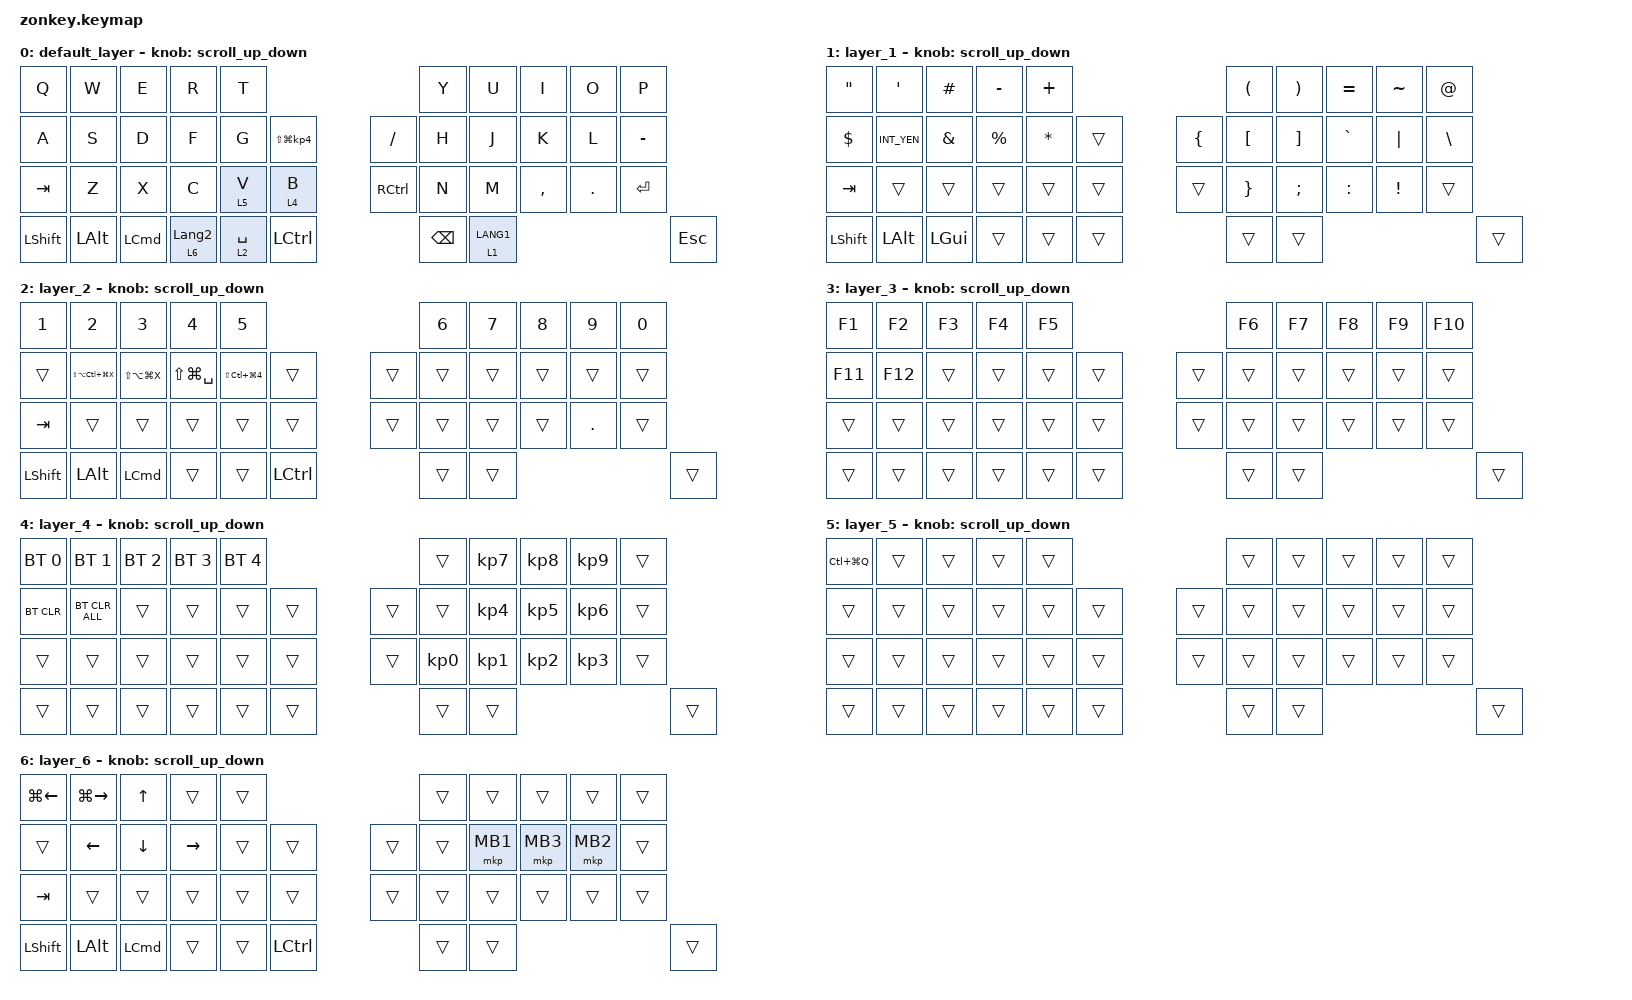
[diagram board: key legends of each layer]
#include <behaviors.dtsi>
#include <dt-bindings/zmk/bt.h>
#include <dt-bindings/zmk/keys.h>
#include <dt-bindings/zmk/pointing.h>

#define ZMK_POINTING_DEFAULT_SCRL_VAL 100
#define MOUSE 6
#define JP_DQUOTE       AT                // "
#define JP_AMPERSAND    CARET             // &
#define JP_QUOTE        AMPERSAND         // '
#define JP_EQUAL        UNDER             // =
#define JP_CARET        EQUAL             // ^
#define JP_YEN          0x89              // ¥
#define JP_PLUS         COLON             // +
#define JP_TILDE        PLUS              // ~
#define JP_PIPE         LS(0x89)          // |
#define JP_AT           LEFT_BRACKET      // @
#define JP_COLON        SINGLE_QUOTE      // :
#define JP_ASTERISK     DOUBLE_QUOTES     // *
#define JP_BACKQUOTE    LEFT_BRACE        // `
#define JP_UNDERSCORE   LS(0x87)          // _
#define JP_LBRACKET     RIGHT_BRACKET     // [
#define JP_RBRACKET     BACKSLASH         // ]
#define JP_LPAREN       ASTERISK          // (
#define JP_RPAREN       LEFT_PARENTHESIS  // )
#define JP_LBRACE       RIGHT_BRACE       // {
#define JP_RBRACE       PIPE              // }
#define JP_KANA         LANGUAGE_1        // かな
#define JP_EISU         LANGUAGE_2        // 英数
#define JP_HANZEN       GRAVE             // 半角/全角
#define JP_BSLH  INT1         // (backslash)

&mt {
    flavor = "balanced";
    quick-tap-ms = <0>;
};

/ {
    combos { compatible = "zmk,combos"; };

    macros {
        to_layer_0: to_layer_0 {
            compatible = "zmk,behavior-macro-one-param";
            #binding-cells = <1>;
            bindings = <&to 0 &macro_param_1to1 &kp MACRO_PLACEHOLDER>;
            label = "TO_LAYER_0";
        };
    };

    behaviors {
        lt_to_layer_0: lt_to_layer_0 {
            compatible = "zmk,behavior-hold-tap";
            label = "LAYER_TAP_TO_0";
            bindings = <&mo>, <&to_layer_0>;

            #binding-cells = <2>;
            tapping-term-ms = <200>;
        };

        scroll_up_down: behavior_sensor_rotate_mouse_wheel_up_down {
            compatible = "zmk,behavior-sensor-rotate";
            #sensor-binding-cells = <0>;
            bindings = <&msc SCRL_DOWN>, <&msc SCRL_UP>;

            tap-ms = <20>;
        };
    };

    keymap {
        compatible = "zmk,keymap";

        default_layer {
            // -----------------------------------------------------------------------------------------
            // |  Q  |  W  |  E  |  R  |  T  |                        |  Y  |  U   |  I  |  O  |  P  | 
            // |  A  |  S  |  D  |  F  |  G  |LS(LG(S))|        　 | - |  H  |  J   |  K  |  L  |  `  | 
            // |SHIFT|  Z  |  X  |  C  |  V  |  B  |           | ; |  N  |  M   |  ,  |  .  |  /  | 
            // | CTRL | WIN | ALT |HENKAN|SPACE|MUHENKAN|       | BS | ENT |      　　　　       | DEL |           

            bindings = <
&kp Q      &kp W         &kp E             &kp R             &kp T                                              &kp Y          &kp U        &kp I      &kp O    &kp P
&kp A      &kp S         &kp D             &kp F             &kp G        &kp LS(LG(KP_NUMBER_4))    &kp SLASH  &kp H          &kp J        &kp K      &kp L    &kp MINUS
&kp TAB    &kp Z         &kp X             &kp C             &lt 5 V      &lt 4 B                    &kp RCTRL  &kp N          &kp M        &kp COMMA  &kp DOT  &kp ENTER
&kp LSHFT  &kp LEFT_ALT  &kp LEFT_COMMAND  &lt 6 LANGUAGE_2  &lt 2 SPACE  &kp LCTRL                             &kp BACKSPACE  &lt 1 LANG1                                 &kp ESCAPE
            >;

            sensor-bindings = <&scroll_up_down>;
        };

        layer_1 {
            // -----------------------------------------------------------------------------------------
            // | 半角/全角 |CAPS|     |     |     |                     |     |     |  -  |  ^  |  ¥  |
            // | TAB |     |     |     |     |     |              |    |     |     |     |  @  |  [  |
            // |SHIFT|     |     |     |     |     |            | 英数 | かな |     |     |     |  ]  |
            // | CTRL| WIN | ALT |HENKAN|SPACE|MUHENKAN|         | BS | ENT |                   | DEL |

            bindings = <
&kp DOUBLE_QUOTES  &kp SINGLE_QUOTE  &kp HASH       &kp MINUS    &kp PLUS                                &kp LEFT_PARENTHESIS  &kp RIGHT_PARENTHESIS  &kp EQUAL  &kp TILDE        &kp AT_SIGN
&kp DOLLAR         &kp INT_YEN       &kp AMPERSAND  &kp PERCENT  &kp ASTERISK  &trans    &kp LEFT_BRACE  &kp LEFT_BRACKET      &kp RIGHT_BRACKET      &kp GRAVE  &kp PIPE         &kp BACKSLASH
&kp TAB            &trans            &trans         &trans       &trans        &trans    &trans          &kp RIGHT_BRACE       &kp SEMICOLON          &kp COLON  &kp EXCLAMATION  &trans
&kp LEFT_SHIFT     &kp LEFT_ALT      &kp LEFT_GUI   &trans       &trans        &trans                    &trans                &trans                                                            &trans
            >;

            sensor-bindings = <&scroll_up_down>;
        };

        layer_2 {
            // -----------------------------------------------------------------------------------------
            // |  1  |  2  |  3  |  4  |  5  |                     |  6  |  7  |  8  |  9  |   0  |
            // |      |     |     |     |     |     |           |    |     |     |     |  ↑  |      |
            // |SHIFT|     |     |     |     |     |           |     |     |     |  ←  |  ↓  |  →  |
            // | CTRL| WIN | ALT |HENKAN|SPACE|MUHENKAN|         | BS | ENT |                   | DEL |

            bindings = <
&kp N1          &kp N2                 &kp N3             &kp N4             &kp N5                                                &kp N6  &kp N7  &kp N8  &kp N9      &kp N0
&trans          &kp LS(LA(LC(LG(X))))  &kp LS(LA(LG(X)))  &kp LS(LG(SPACE))  &kp LS(LC(LG(NUMBER_4)))  &trans              &trans  &trans  &trans  &trans  &trans      &trans
&kp TAB         &trans                 &trans             &trans             &trans                    &trans              &trans  &trans  &trans  &trans  &kp PERIOD  &trans
&kp LEFT_SHIFT  &kp LEFT_ALT           &kp LEFT_COMMAND   &trans             &trans                    &kp LEFT_CONTROL            &trans  &trans                              &trans
            >;

            sensor-bindings = <&scroll_up_down>;
        };

        layer_3 {
            // -----------------------------------------------------------------------------------------
            // | F1  | F2  | F3  | F4  | F5  |                     | F6  | F7 | F8  | F9 | F10 |
            // | F11 | F12 |     |     |     |     |           |    |     |     |     |     |      |
            // |SHIFT|     |     |     |     |     |           |     |     |     |     |     |      |
            // | CTRL| WIN | ALT |HENKAN|SPACE|MUHENKAN|         | BS | ENT |                   | DEL |

            bindings = <
&kp F1   &kp F2   &kp F3  &kp F4  &kp F5                    &kp F6  &kp F7  &kp F8  &kp F9  &kp F10
&kp F11  &kp F12  &trans  &trans  &trans  &trans    &trans  &trans  &trans  &trans  &trans  &trans
&trans   &trans   &trans  &trans  &trans  &trans    &trans  &trans  &trans  &trans  &trans  &trans
&trans   &trans   &trans  &trans  &trans  &trans            &trans  &trans                           &trans
            >;

            sensor-bindings = <&scroll_up_down>;
        };

        layer_4 {
            // -----------------------------------------------------------------------------------------
            // | BT0 | BT1 | BT2 | BT3 | BT4 |                |  -  |  7  |  8  |  9  |  +  |
            // |BTCLR |     |     |     |     |     |           |  /  |  4  |  5  |  6  |  *  | 
            // |SHIFT|     |     |     |     |     |           |  0  |  1  |  2  |   3 |  .  |  =  |
            // | CTRL| WIN | ALT |HENKAN|SPACE|MUHENKAN|        | BS | ENT |                  | DEL |

            bindings = <
&bt BT_SEL 0  &bt BT_SEL 1    &bt BT_SEL 2  &bt BT_SEL 3  &bt BT_SEL 4                    &trans           &kp KP_NUMBER_7  &kp KP_NUMBER_8  &kp KP_NUMBER_9  &trans
&bt BT_CLR    &bt BT_CLR_ALL  &trans        &trans        &trans        &trans    &trans  &trans           &kp KP_NUMBER_4  &kp KP_NUMBER_5  &kp KP_NUMBER_6  &trans
&trans        &trans          &trans        &trans        &trans        &trans    &trans  &kp KP_NUMBER_0  &kp KP_NUMBER_1  &kp KP_NUMBER_2  &kp KP_NUMBER_3  &trans
&trans        &trans          &trans        &trans        &trans        &trans            &trans           &trans                                                     &trans
            >;

            sensor-bindings = <&scroll_up_down>;
        };

        layer_5 {
            // -----------------------------------------------------------------------------------------
            // |      |     |     |     |     |                     |     |     |     |     |      |
            // |      |     |     |     |     |     |           |    |     |     |     |     |      |
            // |SHIFT|     |     |     |     |     |          |     |     |     |     |     |      |
            // | CTRL| WIN | ALT |HENKAN|SPACE|MUHENKAN|        | BS | ENT |                  | DEL |

            bindings = <
&kp LC(LG(Q))  &trans  &trans  &trans  &trans                    &trans  &trans  &trans  &trans  &trans
&trans         &trans  &trans  &trans  &trans  &trans    &trans  &trans  &trans  &trans  &trans  &trans
&trans         &trans  &trans  &trans  &trans  &trans    &trans  &trans  &trans  &trans  &trans  &trans
&trans         &trans  &trans  &trans  &trans  &trans            &trans  &trans                          &trans
            >;

            sensor-bindings = <&scroll_up_down>;
        };

        layer_6 {
            bindings = <
&kp LG(LEFT)    &kp LG(RIGHT)   &kp UP_ARROW      &trans     &trans                              &trans  &trans    &trans    &trans    &trans
&trans          &kp LEFT_ARROW  &kp DOWN          &kp RIGHT  &trans  &trans              &trans  &trans  &mkp MB1  &mkp MB3  &mkp MB2  &trans
&kp TAB         &trans          &trans            &trans     &trans  &trans              &trans  &trans  &trans    &trans    &trans    &trans
&kp LEFT_SHIFT  &kp LEFT_ALT    &kp LEFT_COMMAND  &trans     &trans  &kp LEFT_CONTROL            &trans  &trans                                &trans
            >;

            sensor-bindings = <&scroll_up_down>;
        };
    };
};
